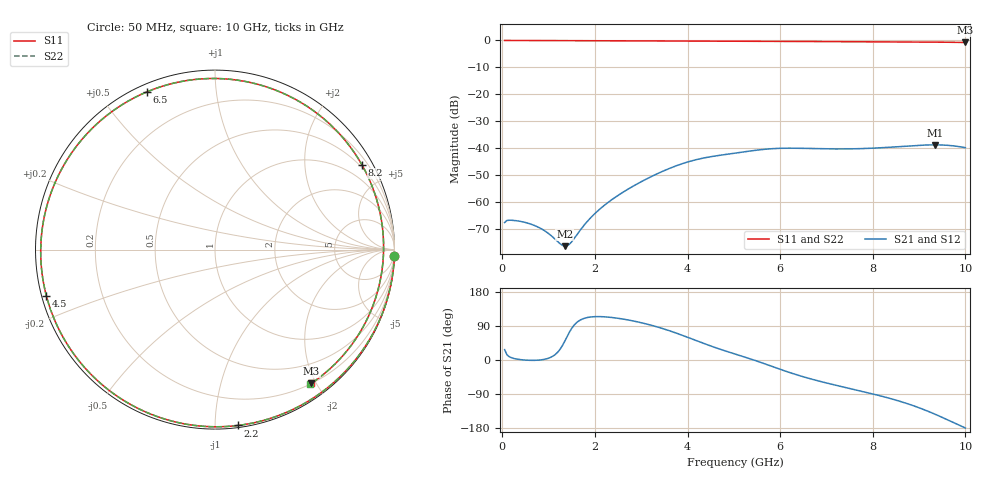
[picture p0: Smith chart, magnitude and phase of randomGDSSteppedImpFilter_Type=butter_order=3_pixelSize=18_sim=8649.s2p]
! freq	dB(S11)	phase(S11)	dB(S12)	phase(S12)
!  dB(S21)	phase(S21)	dB(S22)	phase(S22)
!S-par simulation data
#  GHz  S  DB  R 50
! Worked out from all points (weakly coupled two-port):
!   200 points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, 50 MHz to 10 GHz, reference 50 ohm
!   highest |S21| = -38.65 dB at 9.35 GHz (marker M1); lowest = -76.2 dB at 1.35 GHz (marker M2)
!   lowest |S11| = -0.7 dB at 10 GHz (marker M3), VSWR 23.46, Z = 10.2 - j96.9 ohm
!   |S11| at or under -10 dB: nowhere
!   |S22| runs from -0.7 to 0.0 dB; largest |S21 - S12| = 0
!   S11 on the Smith chart (normalised r, x): 50 MHz: 0, -59; 2.2 GHz: 0.01, -1.14; 4.5 GHz: 0.01, -0.13; 6.5 GHz: 0.03, +0.66; 8.2 GHz: 0.42, +3.70; 10 GHz: 0.20, -1.94
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0.05  -0.00 -1.9  -67.42 27.4  -67.42 27.4  -0.00 -1.9
0.25  -0.00 -9.7  -66.64 4.0  -66.64 4.0  -0.00 -9.7
0.7  -0.03 -27.0  -68.55 -0.9  -68.55 -0.9  -0.03 -27.0
1.35  -0.06 -51.4  -76.17 49.8  -76.17 49.8  -0.06 -51.4
1.45  -0.07 -55.1  -75.44 73.7  -75.44 73.7  -0.07 -55.1
1.75  -0.08 -66.2  -68.75 109.1  -68.75 109.1  -0.08 -66.2
2.2  -0.10 -82.5  -61.09 114.0  -61.09 114.0  -0.10 -82.5
2.8  -0.13 -103.9  -54.20 103.7  -54.20 103.7  -0.13 -104.0
3.4  -0.16 -125.2  -48.93 85.4  -48.93 85.4  -0.16 -125.2
3.95  -0.19 -144.7  -45.28 62.3  -45.28 62.3  -0.19 -144.8
4.5  -0.23 -164.7  -43.05 37.1  -43.05 37.1  -0.23 -164.8
5.05  -0.27 174.5  -41.67 15.0  -41.67 15.0  -0.27 174.4
5.75  -0.32 146.4  -40.17 -13.7  -40.17 -13.7  -0.32 146.2
6.5  -0.38 113.4  -39.95 -44.3  -39.95 -44.3  -0.38 113.2
6.7  -0.39 104.1  -40.03 -51.2  -40.03 -51.2  -0.39 103.9
7.4  -0.44 70.1  -40.16 -72.3  -40.16 -72.3  -0.44 69.8
7.8  -0.46 50.1  -40.02 -83.7  -40.02 -83.7  -0.46 49.8
8.2  -0.49 29.9  -39.71 -95.7  -39.71 -95.7  -0.49 29.6
8.35  -0.50 22.5  -39.56 -100.7  -39.56 -100.7  -0.50 22.1
8.85  -0.55 -2.0  -38.98 -119.5  -38.98 -119.5  -0.55 -2.4
9.35  -0.61 -25.5  -38.65 -143.3  -38.65 -143.3  -0.62 -25.9
10  -0.74 -54.2  -39.70 -179.5  -39.70 -179.5  -0.74 -54.7
